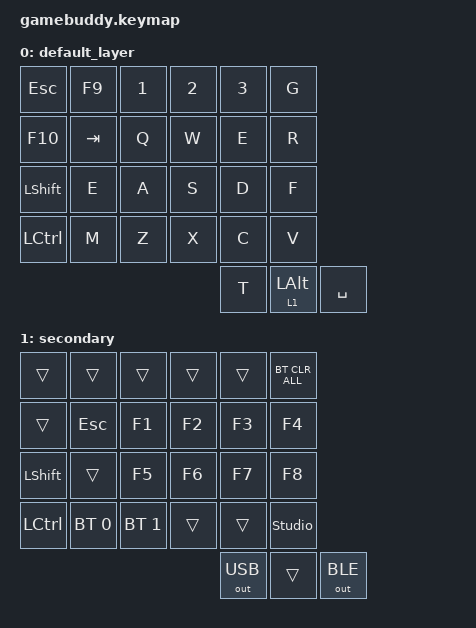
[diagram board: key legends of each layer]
#include <behaviors.dtsi>
#include <dt-bindings/zmk/keys.h>
#include <dt-bindings/zmk/bt.h>
#include <dt-bindings/zmk/outputs.h>
#define default_layer 0
#define secondary 1

/ {
    keymap {
        compatible = "zmk,keymap";

        default_layer {
            bindings = <
                &kp ESC     &kp F9    &kp N1   &kp N2   &kp N3   &kp G
                &kp F10     &kp TAB   &kp Q    &kp W    &kp E    &kp R
                &kp LSHIFT  &kp E     &kp A    &kp S    &kp D    &kp F
                &kp LCTRL   &kp M     &kp Z    &kp X    &kp C    &kp V
                                                        &kp T    &lt 1 LALT &kp SPACE
            >;
        };
        secondary {
            bindings = <
                &trans      &trans        &trans        &trans   &trans       &bt BT_CLR_ALL
                &trans      &kp ESC       &kp F1        &kp F2   &kp F3       &kp F4
                &kp LSHIFT  &trans        &kp F5        &kp F6   &kp F7       &kp F8
                &kp LCTRL   &bt BT_SEL 0  &bt BT_SEL 1  &trans   &trans       &studio_unlock
                                                                 &out OUT_USB &trans   &out OUT_BLE
            >;
        };
    };
 };
